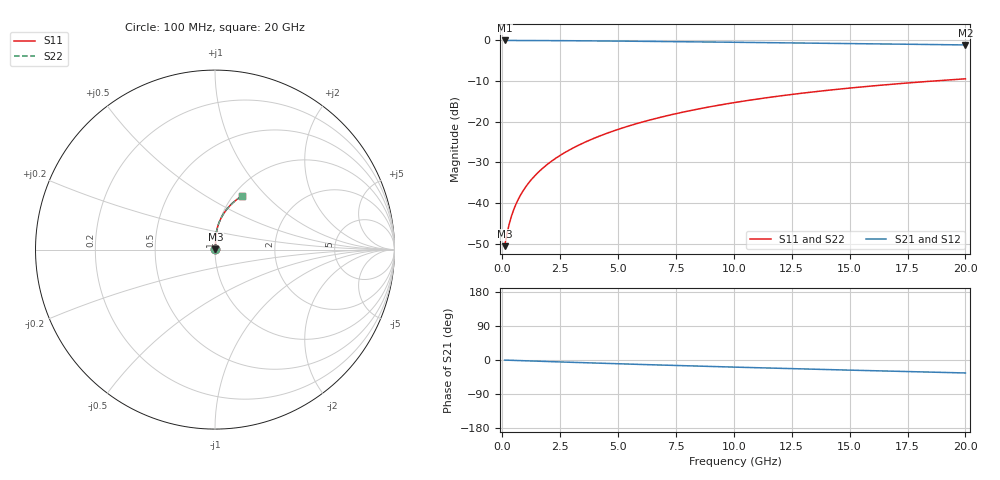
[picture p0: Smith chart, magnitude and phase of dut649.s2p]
! Touchstone file exported from HFSS 2024.1.0
!  File:  C:/UserFiles/LocalFiles/RDL_TSV_Batchsim/temp_RDL_top_649_1779781277.aedt
!  Generated:  03:43:36 PM May 26, 2026
!  Design:  RDL_top
!  Project:  temp_RDL_top_649_1779781277
!  Setup:  Setup1
!  Solution:  Sweep
! Variables:
!  dtsv = 10.80580581um
!  hbump = 3um
!  htsv = 85.83um
!  ldown = 100um
!  lrdl = 438.12um
!  p = 40
!  p1 = 59.17um
!  rhole = 1um
!  t = 450um
!  tdown = 3.915915916um
!  trdl = 2.87um
!  wdown = 15.38538539um
!  wrdl = 25.13um
# GHz S MA R 50.000000
! Terminal data exported
! Port[1] = Box2_T1
! Port[2] = Box2_T2
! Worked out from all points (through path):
!   200 points, 100 MHz to 20 GHz, reference 50 ohm
!   highest |S21| = -0.02 dB at 100 MHz (marker M1); lowest = -1.1 dB at 20 GHz (marker M2)
!   group delay of S21, straight-line fit = 4.71 ps
!   lowest |S11| = -50.6 dB at 100 MHz (marker M3), VSWR 1.01, Z = 50.2 + j0.168 ohm
!   |S11| at or under -10 dB: start of sweep to 18.62 GHz
!   |S22| runs from -50.6 to -9.5 dB; largest |S21 - S12| = 2.1e-15
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0.1  0.002943 34.5  0.9976 -0.2  0.9976 -0.2  0.002943 34.5
! Gamma 0 0 0 0
! Port Impedance 50 0 50 0
0.2  0.004147 52.6  0.9974 -0.4  0.9974 -0.4  0.004147 52.6
0.3  0.005528 61.6  0.9973 -0.6  0.9973 -0.6  0.005528 61.6
0.4  0.006947 66.8  0.9971 -0.8  0.9971 -0.8  0.006947 66.8
0.5  0.008372 70.3  0.997 -1.1  0.997 -1.1  0.008372 70.3
0.6  0.009803 72.9  0.9968 -1.3  0.9968 -1.3  0.009802 72.9
0.8  0.01269 76.5  0.9965 -1.7  0.9965 -1.7  0.01269 76.5
1.1  0.01708 79.9  0.9959 -2.3  0.9959 -2.3  0.01708 79.9
1.3  0.02005 81.4  0.9955 -2.7  0.9955 -2.7  0.02005 81.4
1.6  0.02456 83.0  0.9948 -3.3  0.9948 -3.3  0.02456 83.0
2.1  0.03224 84.7  0.9934 -4.3  0.9934 -4.3  0.03224 84.7
2.7  0.0417 85.8  0.9913 -5.5  0.9913 -5.5  0.0417 85.8
3.5  0.05473 86.5  0.9878 -7.1  0.9878 -7.1  0.05473 86.5
4.2  0.06651 86.5  0.9844 -8.4  0.9844 -8.4  0.06652 86.5
5  0.08037 86.2  0.98 -9.9  0.98 -9.9  0.08037 86.2
6.8  0.1127 84.5  0.969 -13.2  0.969 -13.2  0.1127 84.5
8.4  0.142 82.3  0.9586 -16.0  0.9586 -16.0  0.142 82.3
10.1  0.1732 79.6  0.9472 -18.9  0.9472 -18.9  0.1732 79.6
11.7  0.2021 76.9  0.9363 -21.5  0.9363 -21.5  0.2021 76.9
13.4  0.2319 73.9  0.9247 -24.2  0.9247 -24.2  0.2319 73.9
16.7  0.2866 68.4  0.9019 -29.3  0.9019 -29.3  0.2866 68.4
20  0.3366 63.0  0.8787 -34.2  0.8787 -34.2  0.3366 63.0
